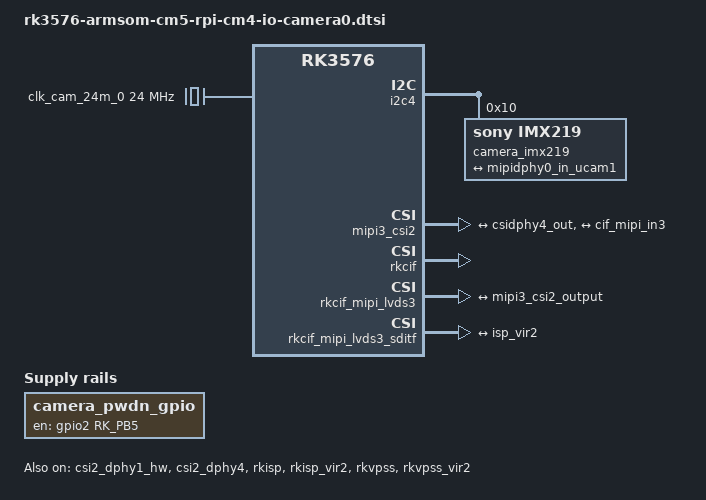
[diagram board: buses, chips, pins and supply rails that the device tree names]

/ {
	camera_pwdn_gpio: camera-pwdn-gpio {
		compatible = "regulator-fixed";
		regulator-name = "camera_pwdn_gpio";
		regulator-always-on;
		regulator-boot-on;
		enable-active-high;
		gpio = <&gpio2 RK_PB5 GPIO_ACTIVE_HIGH>;
		pinctrl-names = "default";
		pinctrl-0 = <&cam_pwdn_gpio>;
	};
	
	clk_cam_24m_0: external-camera-clock-24m-0 {
		compatible = "fixed-clock";
		clock-frequency = <24000000>;
		clock-output-names = "clk_cam_24m_0";
		#clock-cells = <0>;
	};
};

&i2c4 {
	status = "okay";
	pinctrl-0 = <&i2c4m3_xfer>;
	#address-cells = <1>;
	#size-cells = <0>;

	camera_imx219: camera-imx219@10 {
		compatible = "sony,imx219";
		reg = <0x10>;

		clocks = <&clk_cam_24m_0>;
		clock-names = "xvclk";

		rockchip,camera-module-index = <0>;
		rockchip,camera-module-facing = "front";
		rockchip,camera-module-name = "rpi-camera-v2";
		rockchip,camera-module-lens-name = "default";

		port {
			imx219_out0: endpoint {
				remote-endpoint = <&mipidphy0_in_ucam1>;
				data-lanes = <1 2>;
			};
		};
	};
};

&csi2_dphy1_hw {
	status = "okay";
};

&csi2_dphy4 {
	status = "okay";

	ports {
		#address-cells = <1>;
		#size-cells = <0>;

		port@0 {
			reg = <0>;
			#address-cells = <1>;
			#size-cells = <0>;

			mipidphy0_in_ucam1: endpoint@2 {
				reg = <2>;
				remote-endpoint = <&imx219_out0>;
				data-lanes = <1 2>;
			};
		};

		port@1 {
			reg = <1>;
			#address-cells = <1>;
			#size-cells = <0>;

			csidphy4_out: endpoint@0 {
				reg = <0>;
				remote-endpoint = <&mipi3_csi2_input>;
			};
		};
	};
};

&mipi3_csi2 {
	status = "okay";

	ports {
		#address-cells = <1>;
		#size-cells = <0>;

		port@0 {
			reg = <0>;
			#address-cells = <1>;
			#size-cells = <0>;

			mipi3_csi2_input: endpoint@1 {
				reg = <1>;
				remote-endpoint = <&csidphy4_out>;
			};
		};

		port@1 {
			reg = <1>;
			#address-cells = <1>;
			#size-cells = <0>;

			mipi3_csi2_output: endpoint@0 {
				reg = <0>;
				remote-endpoint = <&cif_mipi_in3>;
			};
		};
	};
};

&rkcif {
	status = "okay";
};

&rkcif_mipi_lvds3 {
	status = "okay";

	port {
		cif_mipi_in3: endpoint {
		remote-endpoint = <&mipi3_csi2_output>;
		};
	};
};

&rkcif_mipi_lvds3_sditf {
	status = "okay";

	port {
		mipi3_lvds_sditf: endpoint {
			remote-endpoint = <&isp_vir2>;
		};
	};
};

&rkcif_mmu {
	status = "okay";
};

&rkisp {
	status = "okay";
};

&rkisp_mmu {
	status = "okay";
};

&rkisp_vir2 {
	status = "okay";

	port {
		#address-cells = <1>;
		#size-cells = <0>;

		isp_vir2: endpoint@0 {
			reg = <0>;
			remote-endpoint = <&mipi3_lvds_sditf>;
		};
	};
};

&rkvpss {
	status = "okay";
};

&rkvpss_mmu {
	status = "okay";
};

&rkvpss_vir2 {
	status = "okay";
};

&pinctrl {
	camera {
		cam_pwdn_gpio: cam-pwdn-gpio {
			rockchip,pins = <2 RK_PB5 RK_FUNC_GPIO &pcfg_pull_up>;
		};
	};
};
